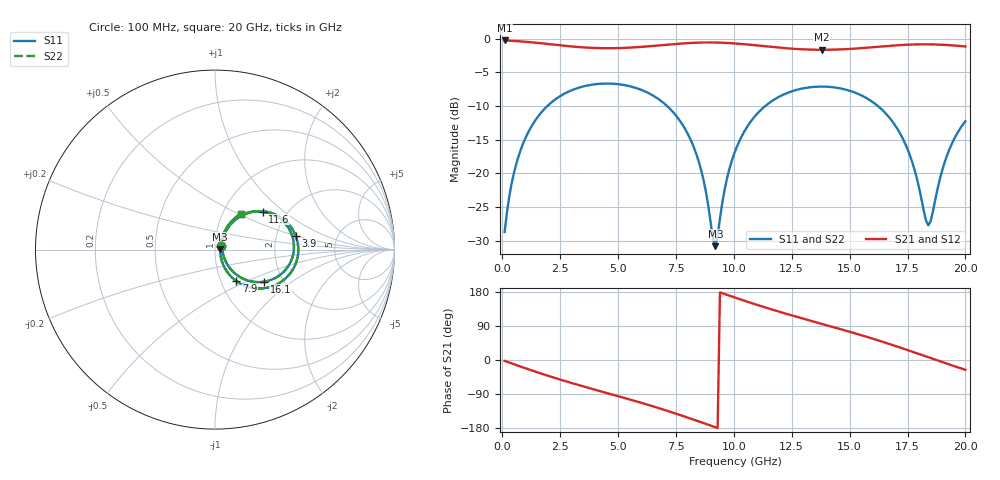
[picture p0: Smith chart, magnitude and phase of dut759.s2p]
! Touchstone file exported from HFSS 2026.1.0
!  File:  C:/ffzhzh/LocalFiles/Ansys_Project_Files/temp_train_TSV_RDL_759_1783207218_43440.aedt
!  Generated:  07:40:40 AM Jul  5, 2026
!  Design:  TSV_RDL
!  Project:  temp_train_TSV_RDL_759_1783207218_43440
! Variables:
!  h_bsmrdl = 4.87um
!  h_ox = 20um
!  h_rdl = 5um
!  h_sub = 98.8um
!  h_tmrdl = 3.98um
!  h_tsv = 98.8um
!  h_via = 3um
!  l_bsmrdl = 988.36um
!  l_sub = 6419.4um
!  l_tmrdl = 734.36um
!  m_sub = 200um
!  pitch = 37.35um
!  r_tsv = 3.67um
!  s_tmrdl = 10um
!  w_bsmrdl = 20.66um
!  w_sub = 500um
!  w_tmrdl = 18.3um
!  x_tsv_center1 = 743.51um
!  x_tsv_center2 = 1752.53um
!  x_tsv_center3 = 2505.19um
!  x_tsv_center4 = 3514.21um
!  x_tsv_center5 = 4266.87um
!  x_tsv_center6 = 5275.89um
# GHz S MA R 50.000000
! Terminal data exported
! Port[1] = TM_RDL1_1_T1
! Port[2] = TM_RDL5_1_T1
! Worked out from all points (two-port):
!   200 points, 100 MHz to 20 GHz, reference 50 ohm
!   highest |S21| = -0.27 dB at 100 MHz (marker M1); lowest = -1.7 dB at 13.8 GHz (marker M2)
!   |S21| within 3 dB of the highest: start of sweep to end of sweep
!   lowest |S11| = -30.8 dB at 9.2 GHz (marker M3), VSWR 1.06, Z = 52.9 + j0.214 ohm
!   |S11| at or under -10 dB: start of sweep to 1.951 GHz; 7.114 GHz to 11.36 GHz (4.248 GHz wide, 46 % of centre); 16.22 GHz to end of sweep
!   |S22| runs from -30.8 to -6.7 dB; largest |S21 - S12| = 1.6e-14
!   S11 on the Smith chart (normalised r, x): 100 MHz: 1.06, +0.04; 3.9 GHz: 2.56, +0.50; 7.9 GHz: 1.18, -0.44; 11.6 GHz: 1.52, +0.72; 16.1 GHz: 1.60, -0.64; 20 GHz: 1.22, +0.51
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0.1  0.03662 31.7  0.9694 -2.3  0.9694 -2.3  0.03662 31.7
! Gamma 0 0 0 0
! Port Impedance 50 0 50 0
0.5  0.1001 58.9  0.9613 -11.1  0.9613 -11.1  0.1001 58.9
1.2  0.2137 54.5  0.9417 -26.0  0.9417 -26.0  0.2137 54.5
2.2  0.3444 38.2  0.903 -46.0  0.903 -46.0  0.3444 38.2
3.5  0.4417 16.4  0.8611 -69.7  0.8611 -69.7  0.4417 16.4
3.9  0.4558 9.8  0.8539 -76.6  0.8539 -76.6  0.4558 9.8
5.3  0.4508 -12.8  0.8543 -100.6  0.8543 -100.6  0.4508 -12.8
6.8  0.3503 -37.8  0.8915 -127.8  0.8915 -127.8  0.3503 -37.8
7.9  0.2125 -55.9  0.9237 -149.8  0.9237 -149.8  0.2125 -55.9
8.6  0.1036 -61.7  0.9355 -164.5  0.9355 -164.5  0.1036 -61.7
9.2  0.02873 4.0  0.936 -177.3  0.936 -177.3  0.02881 4.1
9.7  0.09077 61.2  0.9292 172.0  0.9292 172.0  0.09082 61.1
10.1  0.1527 60.7  0.9197 163.6  0.9197 163.6  0.1528 60.7
11.6  0.3399 38.5  0.8689 134.0  0.8689 134.0  0.3399 38.4
13.4  0.4372 9.6  0.8281 102.2  0.8281 102.2  0.4373 9.6
13.8  0.4404 3.4  0.8264 95.3  0.8264 95.3  0.4404 3.3
16.1  0.3281 -32.9  0.8663 54.3  0.8663 54.3  0.3281 -33.0
16.7  0.2611 -42.1  0.8834 42.6  0.8834 42.6  0.2611 -42.3
17.6  0.1365 -51.2  0.9031 24.2  0.9031 24.2  0.1364 -51.4
18.4  0.04105 4.6  0.9073 7.2  0.9073 7.2  0.04049 4.4
19.2  0.1346 61.4  0.8965 -9.6  0.8965 -9.6  0.1344 61.6
20  0.2435 54.2  0.8747 -25.9  0.8747 -25.9  0.2434 54.3
